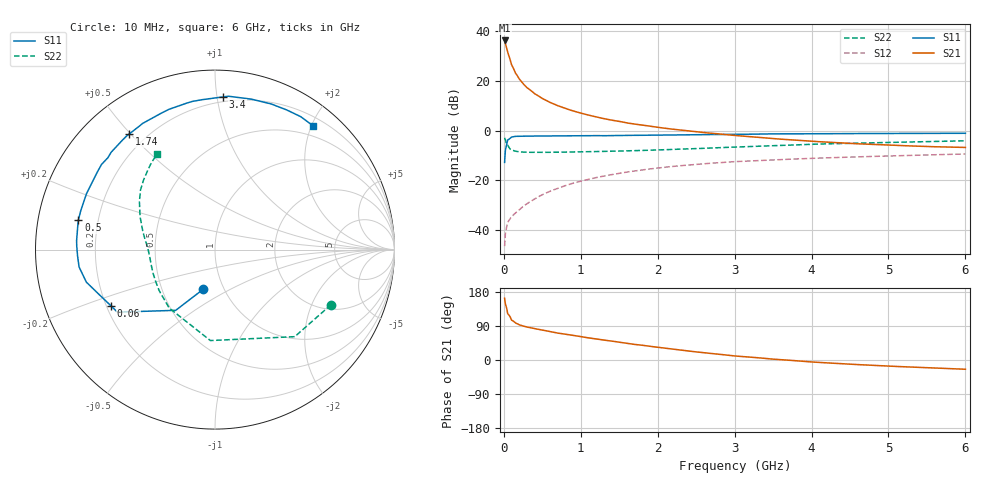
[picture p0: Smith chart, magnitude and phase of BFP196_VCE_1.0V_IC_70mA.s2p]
! Infineon Technologies  Discrete & RF Semiconductors
! BFP196
! VCE = 1.0 V,  IC =  70mA
! Common Emitter S-Parameters:  Jan 2016
# GHz  S  MA  R  50
!  f  S11  S21  S12  S22
! GHz  MAG  ANG  MAG  ANG  MAG  ANG  MAG  ANG
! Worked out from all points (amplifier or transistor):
!   210 points, 10 MHz to 6 GHz, reference 50 ohm
!   highest |S21| = 36.1 dB at 10 MHz (marker M1)
!   |S21| within 3 dB of that: start of sweep to 35.53 MHz
!   unconditionally stable (mu >= 1): 277.3 MHz to end of sweep
!   at 185 MHz: K = 0.87, MSG = 26.9 dB, |S12| = -32.2 dB
!   at 1.52 GHz: K = 1.12, MAG = 8.2 dB, |S12| = -17.0 dB
!   at 6 GHz: K = 1.03, MAG = 0.3 dB, |S12| = -9.4 dB
!   S11 on the Smith chart (normalised r, x): 10 MHz: 0.80, -0.37; 60 MHz: 0.22, -0.24; 500 MHz: 0.13, +0.11; 1.74 GHz: 0.14, +0.49; 3.4 GHz: 0.17, +1.04; 6 GHz: 0.33, +2.02
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0.01  0.2296 -106.4  63.93 163.0  0.0048 72.0  0.7156 -25.4
0.02  0.4031 -122.9  56.68 147.9  0.0085 62.4  0.6579 -47.5
0.05  0.6459 -147.4  36.8 122.2  0.0144 48.2  0.5074 -92.9
0.06  0.6587 -151.5  33.46 120.1  0.0152 47.8  0.476 -98.6
0.1  0.7392 -165.8  20.91 105.3  0.0186 46.4  0.4137 -128.0
0.15  0.7635 -172.7  14.32 97.8  0.0221 51.4  0.386 -143.8
0.2  0.7667 -177.6  10.86 92.9  0.0255 54.4  0.3746 -152.6
0.24  0.7694 179.6  9.104 90.4  0.0291 56.8  0.3703 -157.5
0.3  0.7727 176.3  7.253 87.0  0.034 59.8  0.3672 -162.4
0.4  0.7753 171.2  5.482 82.6  0.0424 63.0  0.3655 -167.7
0.5  0.7789 167.7  4.39 78.9  0.0515 64.1  0.365 -171.3
0.6  0.7787 163.7  3.661 74.9  0.0604 64.4  0.3655 -173.8
0.7  0.7782 159.7  3.153 71.0  0.0693 64.1  0.3671 -175.7
1.02  0.7819 148.7  2.191 61.1  0.0981 61.2  0.3736 179.3
1.3  0.7863 139.4  1.731 52.5  0.1224 57.5  0.3814 175.8
1.74  0.8022 126.7  1.32 40.2  0.1576 50.7  0.3963 170.6
2.02  0.8105 119.3  1.15 33.1  0.1785 46.2  0.4092 167.2
3.1  0.8403 92.8  0.774 9.2  0.2415 29.3  0.4715 152.7
3.4  0.852 86.9  0.708 4.2  0.2543 24.9  0.4915 148.8
4.1  0.8628 74.8  0.597 -6.3  0.2801 15.9  0.5356 140.2
5.1  0.8753 61.7  0.504 -17.0  0.3119 4.7  0.5811 130.0
6  0.8801 51.7  0.458 -24.4  0.3386 -5.4  0.622 121.1
